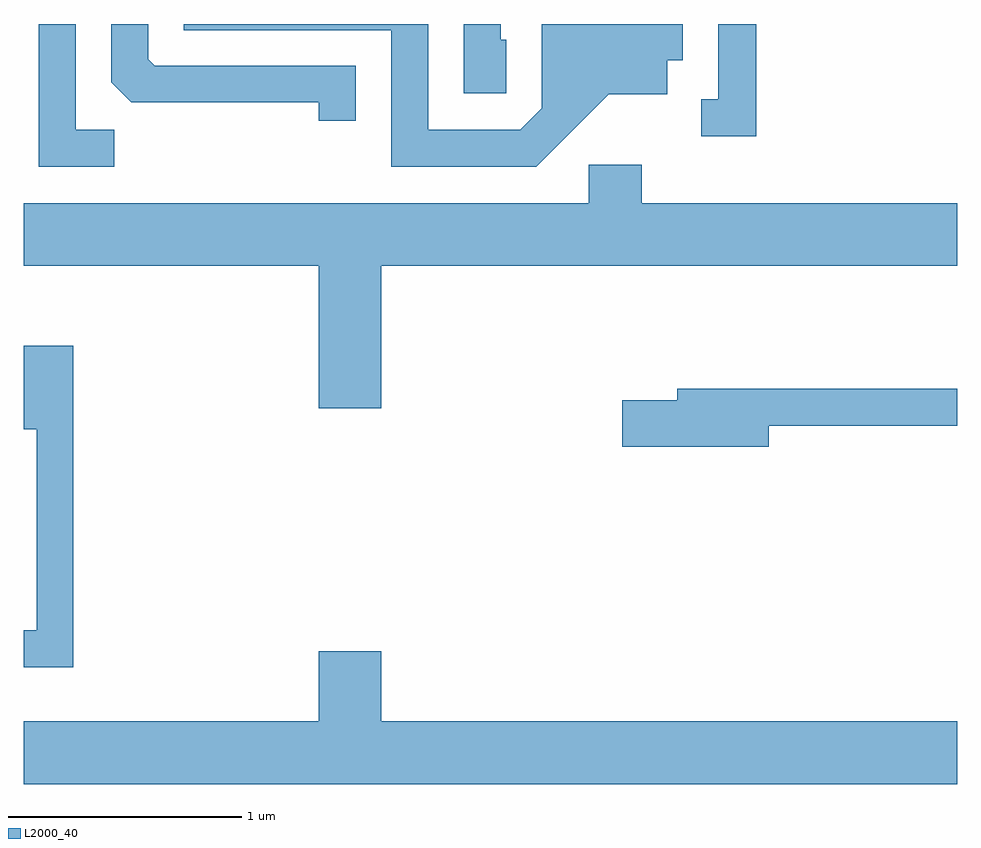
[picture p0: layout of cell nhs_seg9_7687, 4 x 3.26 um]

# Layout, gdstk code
import gdstk
lib = gdstk.Library(unit=1e-6, precision=1e-09)
def P(c, l, *ps):  # polygons
    for p in ps: c.add(gdstk.Polygon(p, *l))
L2000_40 = (2000, 40)

nhs_seg9_7687 = lib.new_cell('nhs_seg9_7687')
P(nhs_seg9_7687, L2000_40, [(415.679,1968.364),(415.654,1968.364),(415.654,1968.432),(415.496,1968.432),(415.496,1968.136),(415.679,1968.136)],
  [(416.117,1968.131),(416.369,1968.131),(416.369,1968.276),(416.434,1968.276),(416.434,1968.432),(415.831,1968.432),(415.831,1968.072),(415.739,1967.979),(415.344,1967.979),(415.344,1968.432),(414.296,1968.432),(414.296,1968.406),(415.186,1968.406),(415.186,1967.821),(415.807,1967.821)],
  [(415.034,1968.254),(414.172,1968.254),(414.144,1968.282),(414.144,1968.432),(413.986,1968.432),(413.986,1968.182),(414.072,1968.096),(414.876,1968.096),(414.876,1968.018),(415.034,1968.018)],
  [(413.998,1967.979),(413.834,1967.979),(413.834,1968.432),(413.676,1968.432),(413.676,1967.821),(413.998,1967.821)],
  [(416.749,1968.432),(416.586,1968.432),(416.586,1968.109),(416.513,1968.109),(416.513,1967.951),(416.749,1967.951)],
  [(415.144,1967.396),(417.611,1967.396),(417.611,1967.664),(416.259,1967.664),(416.259,1967.829),(416.031,1967.829),(416.031,1967.664),(413.611,1967.664),(413.611,1967.396),(414.876,1967.396),(414.876,1966.786),(415.144,1966.786)],
  [(413.824,1967.054),(413.611,1967.054),(413.611,1966.696),(413.666,1966.696),(413.666,1965.834),(413.611,1965.834),(413.611,1965.676),(413.824,1965.676)],
  [(416.804,1966.711),(417.611,1966.711),(417.611,1966.869),(416.411,1966.869),(416.411,1966.819),(416.176,1966.819),(416.176,1966.621),(416.804,1966.621)],
  [(417.611,1965.444),(415.144,1965.444),(415.144,1965.744),(414.876,1965.744),(414.876,1965.444),(413.611,1965.444),(413.611,1965.176),(417.611,1965.176)])

lib.write_gds('nhs_seg9_7687.gds')
